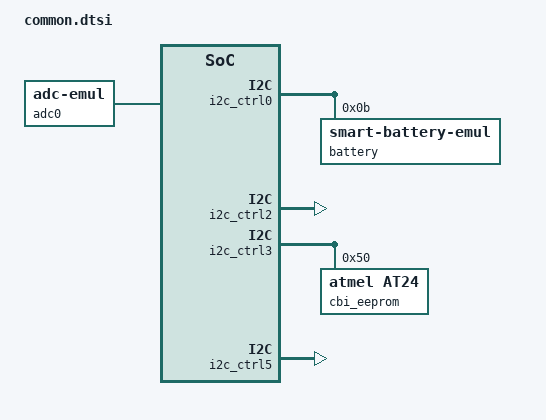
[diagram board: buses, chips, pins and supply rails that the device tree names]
/* Copyright 2022 The ChromiumOS Authors
 * Use of this source code is governed by a BSD-style license that can be
 * found in the LICENSE file.
 */

#include <board-overlays/native_sim.dts>
#include <dt-bindings/usb_pd_tcpm.h>
#include <npcx_emul.dts>
#include <zephyr/dt-bindings/gpio/gpio.h>

/ {
	usbc {
		#address-cells = <1>;
		#size-cells = <0>;
		port0@0 {
			compatible = "named-usbc-port";
			reg = <0>;
			usb-mux-chain-0 {
				compatible = "cros-ec,usb-mux-chain";
				usb-muxes = <&virtual_mux_0>;
			};
		};
		port1@1 {
			compatible = "named-usbc-port";
			reg = <1>;
			usb-mux-chain-1 {
				compatible = "cros-ec,usb-mux-chain";
				usb-muxes = <&virtual_mux_1>;
			};
			usb_mux_chain_1_hdmi_db: usb-mux-chain-1-hdmi-db {
				compatible = "cros-ec,usb-mux-chain";
				alternative-chain;
				usb-muxes = <&virtual_mux_1>;
			};
		};
		port0-muxes {
			virtual_mux_0: virtual-mux-0 {
				compatible = "cros-ec,usbc-mux-virtual";
			};
		};
		port1-muxes {
			virtual_mux_1: virtual-mux-1 {
				compatible = "cros-ec,usbc-mux-virtual";
			};
		};
	};

	adc0: adc {
		compatible = "zephyr,adc-emul";
		nchannels = <6>;
		ref-internal-mv = <3300>;
		#io-channel-cells = <1>;
		status = "okay";
	};

	named-adc-channels {
		compatible = "named-adc-channels";

		adc_charger_pmon_r {
			enum-name = "ADC_PSYS";
			io-channels = <&adc0 0>;
			/*
			 * ISL9238C PSYS output is 1.44 uA/W over 33K resistor.
			 */
			mul = <21043>;
		};
		adc_ec_id0 {
			enum-name = "ADC_ID_0";
			io-channels = <&adc0 1>;
		};
		adc_ec_id1 {
			enum-name = "ADC_ID_1";
			io-channels = <&adc0 2>;
		};
		adc_charger_amon_r {
			enum-name = "ADC_AMON_BMON";
			io-channels = <&adc0 3>;
			mul = <1000>;
			div = <18>;
		};
	};

	/* These are temporary just to get the test to build.
	 * Should be replaced with the correct accel drivers,
	 * but we're not testing that code right now anyway.
	 */
	motionsense-sensor-data {
		bmi160_data: bmi160-drv-data {
			compatible = "cros-ec,drvdata-bmi160";
			status = "okay";
		};
	};
	motionsense-sensor {
		base_accel: ms-bmi160-accel {
			compatible = "cros-ec,bmi160-accel";
			status = "okay";

			active-mask = "SENSOR_ACTIVE_S0_S3_S5";
			location = "MOTIONSENSE_LOC_BASE";
			drv-data = <&bmi160_data>;
			default-range = <4>;
			i2c-spi-addr-flags = "BMI160_ADDR0_FLAGS";
		};
		lid_accel: ms-bmi160-accel2 {
			compatible = "cros-ec,bmi160-accel";
			status = "okay";

			active-mask = "SENSOR_ACTIVE_S0_S3_S5";
			location = "MOTIONSENSE_LOC_BASE";
			drv-data = <&bmi160_data>;
			default-range = <4>;
			i2c-spi-addr-flags = "BMI160_ADDR0_FLAGS";
		};
	};
	motionsense-sensor-info {
		compatible = "cros-ec,motionsense-sensor-info";

		/*
		 * list of GPIO interrupts that have to
		 * be enabled at initial stage
		 */
		sensor-irqs = <&int_base_imu>;
		/* list of sensors in force mode */
		accel-force-mode-sensors = <&lid_accel>;
	};

	named-i2c-ports {
		compatible = "named-i2c-ports";
		i2c_sensor: i2c-sensor {
			i2c-port = <&i2c_ctrl0>;
			enum-names = "I2C_PORT_SENSOR";
		};
		i2c_eeprom: i2c-eeprom {
			i2c-port = <&i2c_ctrl3>;
			enum-names = "I2C_PORT_EEPROM", "I2C_PORT_BATTERY",
					"I2C_PORT_CHARGER";
		};
	};
	pinctrl: pinctrl {
		compatible = "nuvoton,npcx-pinctrl";
		status = "okay";
		/* I2C peripheral interfaces */
		/omit-if-no-ref/ i2c0_0_sda_scl_gpb4_b5: periph-i2c0-0 {
			pinmux = <&alt2_i2c0_0_sl>;
			periph-pupd = <0x00 0>;
		};
		/omit-if-no-ref/ i2c3_0_sda_scl_gpd0_d1: periph-i2c3-0 {
			pinmux = <&alt2_i2c3_0_sl>;
			periph-pupd = <0x00 6>;
		};
	};
	npcx-alts-map {
		compatible = "nuvoton,npcx-pinctrl-conf";
		/* SCFG DEVALT 2 */
		alt2_i2c0_0_sl: alt20 {
			alts = <&scfg 0x02 0x0 0>;
		};
		alt2_i2c3_0_sl: alt26 {
			alts = <&scfg 0x02 0x6 0>;
		};
	};
};

&i2c_ctrl0 {
	status = "okay";


	battery: sb@b {
		compatible = "zephyr,smart-battery-emul";
		status = "okay";
		reg = <0xb>;
		cycle-count = <99>;
		version = "BATTERY_SPEC_VER_1_1_WITH_PEC";
		/* Real battery voltages are multiples of 4.4V. */
		desired-charg-volt = <5000>;
		desired-charg-cur = <1000>;
		mf-name = "LGC";
		dev-name = "AC17A8M";
	};
};

&i2c_ctrl2 {
	status = "okay";
};

&i2c_ctrl3 {
	status = "okay";

	cbi_eeprom: eeprom@50 {
		compatible = "atmel,at24";
		reg = <0x50>;
		size = <2048>;
		pagesize = <16>;
		address-width = <8>;
		timeout = <5>;
	};
};

&i2c_ctrl5 {
	status = "okay";
};

